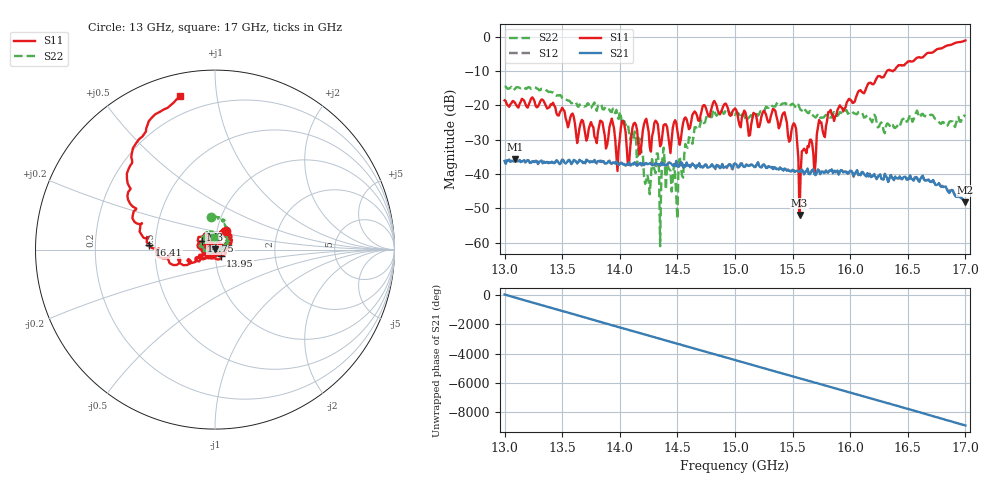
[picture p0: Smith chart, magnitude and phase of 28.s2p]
!Keysight Technologies,P9374A,MY57211807,A.19.30.04
!Date: Friday, May 01, 2026 14:12:52
!Correction: S11(C  2-Port  )
!S21(C  2-Port  )
!S12(C  2-Port  )
!S22(C  2-Port  )
!S2P File: Measurements: S11, S21, S12, S22:
# Hz S  RI  R 50
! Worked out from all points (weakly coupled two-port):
!   401 points, 13 GHz to 17 GHz, reference 50 ohm
!   highest |S21| = -35.72 dB at 13.09 GHz (marker M1); lowest = -48.2 dB at 17 GHz (marker M2)
!   lowest |S11| = -52.0 dB at 15.56 GHz (marker M3), VSWR 1.01, Z = 49.8 + j0.201 ohm
!   |S11| at or under -10 dB: start of sweep to 16.32 GHz; 16.36311 GHz to 16.37403 GHz (10.92 MHz wide, 0.0667 % of centre)
!   |S22| runs from -61.0 to -14.6 dB; largest |S21 - S12| = 0.001
!   S11 on the Smith chart (normalised r, x): 13 GHz: 1.10, +0.23; 13.95 GHz: 1.06, -0.07; 14.75 GHz: 0.86, +0.08; 16.41 GHz: 0.46, +0.03; 17 GHz: 0.11, +0.79
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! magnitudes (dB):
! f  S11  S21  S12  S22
! 13 GHz  -18.6  -36.2  -36.0  -14.6
! 13.09 GHz  -19.3  -35.7  -35.6  -15.2
! 13.67 GHz  -24.3  -36.2  -36.2  -20.1
! 13.95 GHz  -26.8  -36.7  -36.7  -21.9
! 13.98 GHz  -39.2  -37.0  -36.9  -23.5
! 14.03 GHz  -24.6  -37.3  -37.4  -24.5
! 14.08 GHz  -37.3  -36.6  -36.8  -27.9
! 14.12 GHz  -25.4  -37.2  -37.2  -29.6
! 14.24 GHz  -25.7  -37.2  -37.0  -40.3
! 14.34 GHz  -28.6  -37.2  -37.5  -38.8
! 14.39 GHz  -25.6  -37.4  -37.4  -36.3
! 14.48 GHz  -24.3  -37.8  -37.5  -40.1
! 14.75 GHz  -21.1  -37.3  -37.4  -23.6
! 15 GHz  -20.9  -37.0  -36.9  -22.8
! 15.43 GHz  -22.0  -38.5  -38.4  -19.5
! 15.52 GHz  -25.7  -39.4  -39.4  -20.3
! 15.56 GHz  -52.0  -39.4  -39.3  -20.7
! 15.67 GHz  -31.1  -38.8  -38.8  -22.7
! 15.82 GHz  -21.9  -39.0  -39.0  -23.6
! 16.34 GHz  -9.7  -41.4  -41.3  -25.8
! 16.41 GHz  -8.7  -41.2  -41.2  -26.0
! 17 GHz  -1.1  -48.2  -48.4  -23.3
